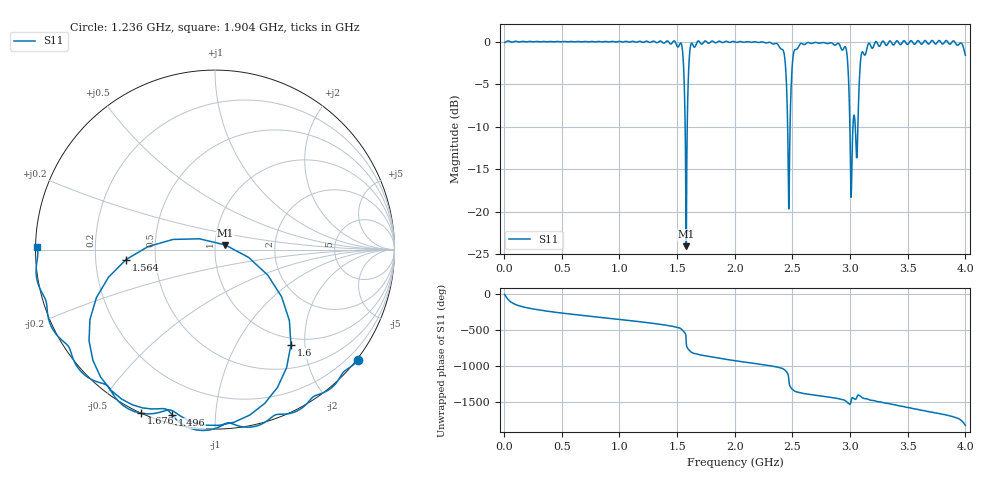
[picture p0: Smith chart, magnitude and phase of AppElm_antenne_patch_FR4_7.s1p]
! TOUCHSTONE file generated by CST MICROWAVE STUDIO
! Date and time: Tue Jun 14 14:31:17 2022
! Project name: AppElm_antenne_patch_FR4.cst
! Parameters = {L=45; W=58.5; e=0.035; h=1.6; lambda=0.190476; ls=126; w0=2.54; w1=0.847; ws=120; y0=18; y1=23.8}
! Header version: 2018
! Port assignment regex: !\s*Touchstone port\s*([0-9]+)\s*=\s*(CST MWS port|CST DS port)\s*([0-9]+|Zmin|Zmax)\s*\(\"(.*)\"\)(\s*mode\s*([0-9]+))?.*
! Touchstone port assignment:
! Touchstone port 1 = CST MWS port 1 ("")
# GHz S MA R 50
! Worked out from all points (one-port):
!   1000 points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, 4 MHz to 4 GHz, reference 50 ohm
!   lowest |S11| = -24.1 dB at 1.58 GHz (marker M1), VSWR 1.13, Z = 56 + j2.92 ohm
!   |S11| at or under -10 dB: 2.458 GHz to 2.48 GHz (21.18 MHz wide, 0.858 % of centre); 2.998 GHz to 3.025 GHz (26.93 MHz wide, 0.894 % of centre); 3.045 GHz to 3.068 GHz (22.69 MHz wide, 0.742 % of centre)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
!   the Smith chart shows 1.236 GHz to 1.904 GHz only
!   S11 on the Smith chart (normalised r, x): 1.236 GHz: -0.03, -2.92; 1.496 GHz: 0.04, -0.77; 1.564 GHz: 0.34, -0.05; 1.6 GHz: 0.88, -1.73; 1.676 GHz: -0.00, -0.65; 1.904 GHz: 0.00, +0.01
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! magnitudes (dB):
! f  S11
! 4 MHz  -0.1
! 504 MHz  0.0
! 1.004 GHz  0.0
! 1.236 GHz  0.1
! 1.496 GHz  -0.4
! 1.504 GHz  -0.6
! 1.544 GHz  -0.7
! 1.564 GHz  -6.0
! 1.58 GHz  -24.1
! 1.6 GHz  -3.4
! 1.62 GHz  -0.3
! 1.676 GHz  0.0
! 1.904 GHz  -0.1
! 2.004 GHz  0.0
! 2.408 GHz  -0.9
! 2.432 GHz  -1.8
! 2.468 GHz  -19.7
! 2.484 GHz  -7.3
! 2.504 GHz  -2.0
! 2.576 GHz  -0.2
! 2.952 GHz  -0.6
! 2.976 GHz  -1.9
! 3.004 GHz  -14.9
! 3.056 GHz  -13.7
! 3.092 GHz  -2.1
! 3.112 GHz  -1.3
! 3.504 GHz  -0.3
! 4 GHz  -1.6
